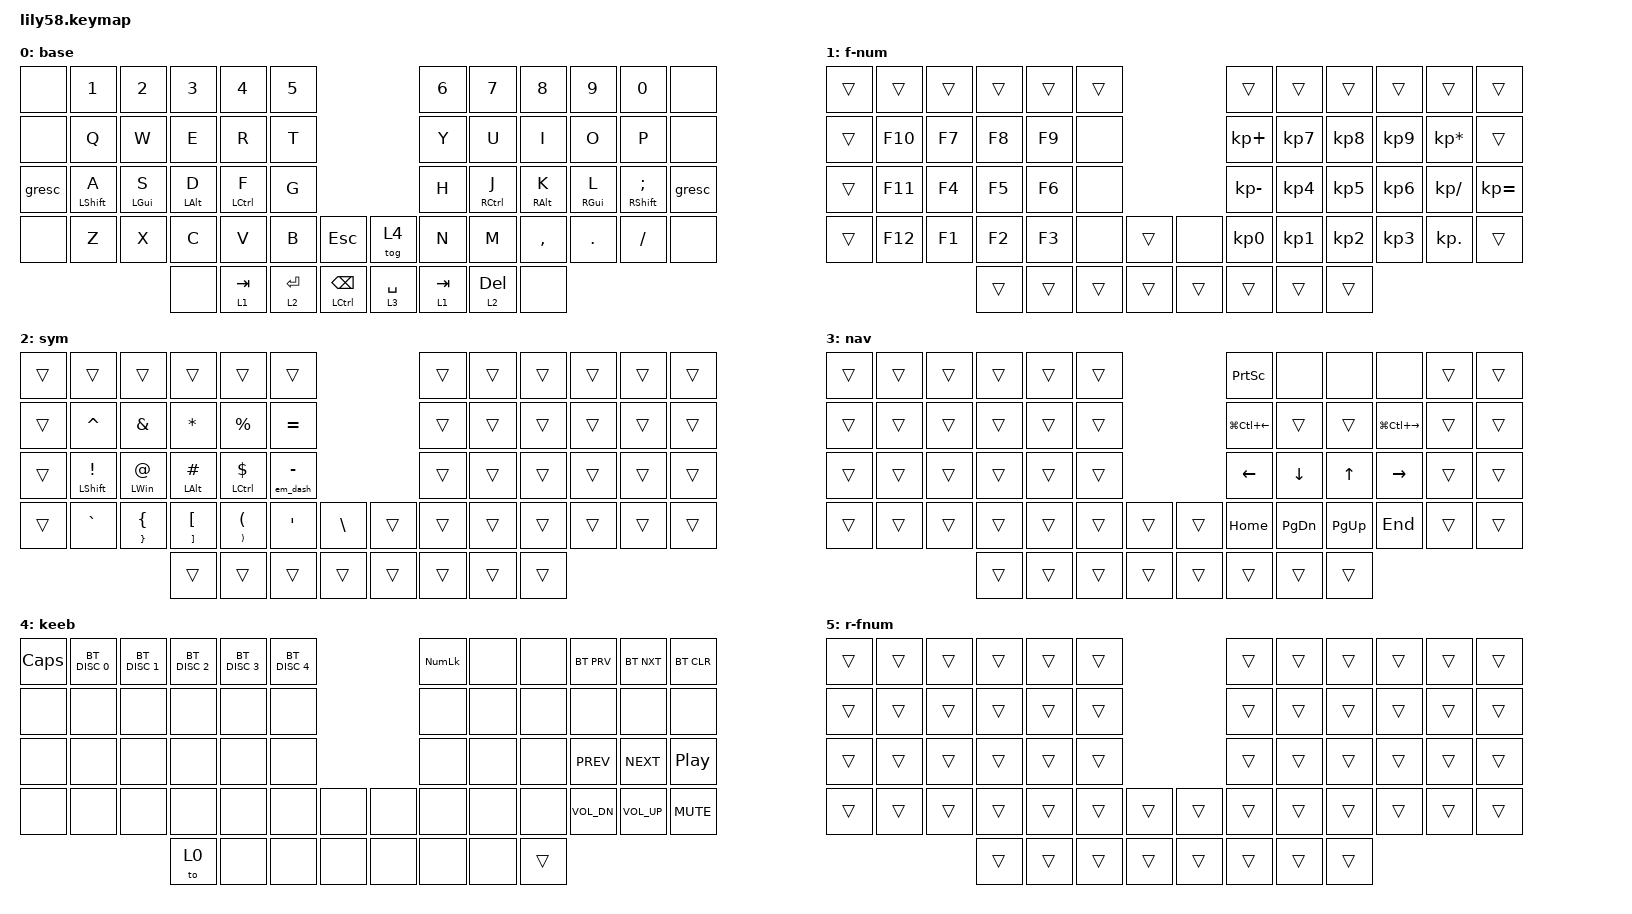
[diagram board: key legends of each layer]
/*
 * Copyright (c) 2024 The ZMK Contributors
 *
 * SPDX-License-Identifier: MIT
 */

#include <behaviors.dtsi>
#include <dt-bindings/zmk/bt.h>
#include <dt-bindings/zmk/keys.h>

/ {
    behaviors {
        hm: homerow_mods {
            compatible = "zmk,behavior-hold-tap";
            label = "HOMEROW_MODS";
            #binding-cells = <2>;
            tapping-term-ms = <200>;
            quick-tap-ms = <0>;
            flavor = "tap-preferred";
            bindings = <&kp>, <&kp>;
        };

        WinShiftDance: WinShiftDance {
            compatible = "zmk,behavior-tap-dance";
            label = "WINSHIFTDANCE";
            #binding-cells = <0>;
            bindings = <&mt LEFT_SHIFT LWIN>, <&kp LWIN>;
        };

        LayerModTap: LayerModTap {
            compatible = "zmk,behavior-hold-tap";
            label = "LAYERMODTAP";
            bindings = <&mo>, <&tog>;

            #binding-cells = <2>;
            tapping-term-ms = <200>;
        };

        dash_dance: dash_dance {
            compatible = "zmk,behavior-hold-tap";
            label = "DASH_DANCE";
            #binding-cells = <2>;
            tapping-term-ms = <200>;
            quick-tap-ms = <0>;
            bindings = <&em_dash>, <&kp>;
        };

        dance: dance {
            compatible = "zmk,behavior-hold-tap";
            label = "DANCE";
            #binding-cells = <2>;
            tapping-term-ms = <200>;
            quick-tap-ms = <0>;
            bindings = <&kp>, <&kp>;

            flavor = "balanced";
        };
    };

    macros {
        em_dash: em_dash {
            compatible = "zmk,behavior-macro";
            #binding-cells = <0>;
            wait-ms = <30>;
            tap-ms = <40>;
            bindings =
                <&macro_press>,
                <&kp LALT>,
                <&macro_tap>,
                <&kp KP_N0>,
                <&macro_tap>,
                <&kp KP_N1>,
                <&macro_tap>,
                <&kp KP_N5>,
                <&macro_tap>,
                <&kp KP_N1>,
                <&macro_release>,
                <&kp LALT>;

            label = "EM_DASH";
        };
    };

    keymap {
        compatible = "zmk,keymap";

        base {
            bindings = <
&none   &kp N1        &kp N2      &kp N3      &kp N4       &kp N5                                           &kp N6     &kp N7       &kp N8      &kp N9      &kp N0           &none
&none   &kp Q         &kp W       &kp E       &kp R        &kp T                                            &kp Y      &kp U        &kp I       &kp O       &kp P            &none
&gresc  &hm LSHIFT A  &hm LGUI S  &hm LALT D  &hm LCTRL F  &kp G                                            &kp H      &hm RCTRL J  &hm RALT K  &hm RGUI L  &hm RSHIFT SEMI  &gresc
&none   &kp Z         &kp X       &kp C       &kp V        &kp B        &kp ESC                &tog 4       &kp N      &kp M        &kp COMMA   &kp DOT     &kp FSLH         &none
                                  &none       &lt 1 TAB    &lt 2 ENTER  &mt LCTRL BACKSPACE    &lt 3 SPACE  &lt 1 TAB  &lt 2 DEL    &none
            >;

            label = "base";
        };

        f_numbers {
            bindings = <
&trans  &trans   &trans  &trans  &trans  &trans                    &trans        &trans     &trans     &trans     &trans           &trans
&trans  &kp F10  &kp F7  &kp F8  &kp F9  &none                     &kp KP_PLUS   &kp KP_N7  &kp KP_N8  &kp KP_N9  &kp KP_MULTIPLY  &trans
&trans  &kp F11  &kp F4  &kp F5  &kp F6  &none                     &kp KP_MINUS  &kp KP_N4  &kp KP_N5  &kp KP_N6  &kp KP_DIVIDE    &kp KP_EQUAL
&trans  &kp F12  &kp F1  &kp F2  &kp F3  &none   &trans    &none   &kp KP_N0     &kp KP_N1  &kp KP_N2  &kp KP_N3  &kp KP_DOT       &trans
                         &trans  &trans  &trans  &trans    &trans  &trans        &trans     &trans
            >;

            label = "f-num";
        };

        left_symbols {
            bindings = <
&trans  &trans                  &trans                         &trans                             &trans                                     &trans                                        &trans  &trans  &trans  &trans  &trans  &trans
&trans  &kp CARET               &kp AMPERSAND                  &kp ASTERISK                       &kp PERCENT                                &kp EQUAL                                     &trans  &trans  &trans  &trans  &trans  &trans
&trans  &hm LSHIFT EXCLAMATION  &hm LWIN AT_SIGN               &hm LALT HASH                      &hm LCTRL DOLLAR                           &dash_dance 0 MINUS                           &trans  &trans  &trans  &trans  &trans  &trans
&trans  &kp GRAVE               &dance RIGHT_BRACE LEFT_BRACE  &dance RIGHT_BRACKET LEFT_BRACKET  &dance RIGHT_PARENTHESIS LEFT_PARENTHESIS  &kp SQT              &kp BACKSLASH    &trans  &trans  &trans  &trans  &trans  &trans  &trans
                                                               &trans                             &trans                                     &trans               &trans           &trans  &trans  &trans  &trans
            >;

            label = "sym";
        };

        navigation {
            bindings = <
&trans  &trans  &trans  &trans  &trans  &trans                    &kp PSCRN         &none      &none      &none              &trans  &trans
&trans  &trans  &trans  &trans  &trans  &trans                    &kp LG(LC(LEFT))  &trans     &trans     &kp LG(LC(RIGHT))  &trans  &trans
&trans  &trans  &trans  &trans  &trans  &trans                    &kp LEFT          &kp DOWN   &kp UP     &kp RIGHT          &trans  &trans
&trans  &trans  &trans  &trans  &trans  &trans  &trans    &trans  &kp HOME          &kp PG_DN  &kp PG_UP  &kp END            &trans  &trans
                        &trans  &trans  &trans  &trans    &trans  &trans            &trans     &trans
            >;

            label = "nav";
        };

        board {
            bindings = <
&kp CAPS  &bt BT_DISC 0  &bt BT_DISC 1  &bt BT_DISC 2  &bt BT_DISC 3  &bt BT_DISC 4                  &kp KP_NLCK  &none  &none   &bt BT_PRV    &bt BT_NXT    &bt BT_CLR
&none     &none          &none          &none          &none          &none                          &none        &none  &none   &none         &none         &none
&none     &none          &none          &none          &none          &none                          &none        &none  &none   &kp C_PREV    &kp C_NEXT    &kp C_PP
&none     &none          &none          &none          &none          &none          &none    &none  &none        &none  &none   &kp C_VOL_DN  &kp C_VOL_UP  &kp C_MUTE
                                        &to 0          &none          &none          &none    &none  &none        &none  &trans
            >;

            label = "keeb";
        };

        r-fnum {
            bindings = <
&trans  &trans  &trans  &trans  &trans  &trans                    &trans  &trans  &trans  &trans  &trans  &trans
&trans  &trans  &trans  &trans  &trans  &trans                    &trans  &trans  &trans  &trans  &trans  &trans
&trans  &trans  &trans  &trans  &trans  &trans                    &trans  &trans  &trans  &trans  &trans  &trans
&trans  &trans  &trans  &trans  &trans  &trans  &trans    &trans  &trans  &trans  &trans  &trans  &trans  &trans
                        &trans  &trans  &trans  &trans    &trans  &trans  &trans  &trans
            >;
        };
    };

    conditional_layers { compatible = "zmk,conditional-layers"; };
};
